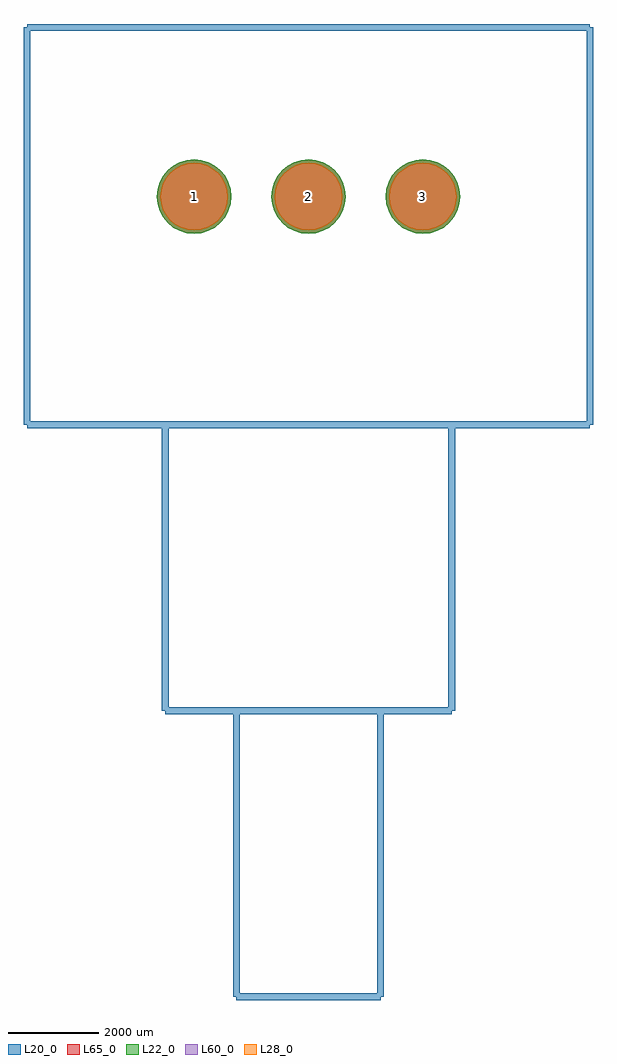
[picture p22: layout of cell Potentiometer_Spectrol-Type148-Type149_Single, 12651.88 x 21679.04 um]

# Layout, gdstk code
import gdstk
lib = gdstk.Library(unit=1e-6, precision=1e-09)
def P(c, l, *ps):  # polygons
    for p in ps: c.add(gdstk.Polygon(p, *l))
L20_0 = (20, 0)
L22_0 = (22, 0)
L28_0 = (28, 0)
L60_0 = (60, 0)
L65_0 = (65, 0)

potentiometer_spectrol_t = lib.new_cell('Potentiometer_Spectrol-Type148-Type149_Single')
P(potentiometer_spectrol_t, L22_0, [(825.57,0),(809.707,161.061),(762.727,315.932),(686.436,458.662),(583.766,583.766),(458.662,686.436),(315.932,762.727),(161.061,809.707),(0,825.57),(-161.061,809.707),(-315.932,762.727),(-458.662,686.436),(-583.766,583.766),(-686.436,458.662),(-762.727,315.932),(-809.707,161.061),(-825.57,0),(-809.707,-161.061),(-762.727,-315.932),(-686.436,-458.662),(-583.766,-583.766),(-458.662,-686.436),(-315.932,-762.727),(-161.061,-809.707),(0,-825.57),(161.061,-809.707),(315.932,-762.727),(458.662,-686.436),(583.766,-583.766),(686.436,-458.662),(762.727,-315.932),(809.707,-161.061)],
  [(5905.57,0),(5889.707,161.061),(5842.727,315.932),(5766.436,458.662),(5663.766,583.766),(5538.662,686.436),(5395.932,762.727),(5241.061,809.707),(5080,825.57),(4918.939,809.707),(4764.068,762.727),(4621.338,686.436),(4496.234,583.766),(4393.564,458.662),(4317.273,315.932),(4270.293,161.061),(4254.43,0),(4270.293,-161.061),(4317.273,-315.932),(4393.564,-458.662),(4496.234,-583.766),(4621.338,-686.436),(4764.068,-762.727),(4918.939,-809.707),(5080,-825.57),(5241.061,-809.707),(5395.932,-762.727),(5538.662,-686.436),(5663.766,-583.766),(5766.436,-458.662),(5842.727,-315.932),(5889.707,-161.061)],
  [(3365.57,0),(3349.707,161.061),(3302.727,315.932),(3226.436,458.662),(3123.766,583.766),(2998.662,686.436),(2855.932,762.727),(2701.061,809.707),(2540,825.57),(2378.939,809.707),(2224.068,762.727),(2081.338,686.436),(1956.234,583.766),(1853.564,458.662),(1777.273,315.932),(1730.293,161.061),(1714.43,0),(1730.293,-161.061),(1777.273,-315.932),(1853.564,-458.662),(1956.234,-583.766),(2081.338,-686.436),(2224.068,-762.727),(2378.939,-809.707),(2540,-825.57),(2701.061,-809.707),(2855.932,-762.727),(2998.662,-686.436),(3123.766,-583.766),(3226.436,-458.662),(3302.727,-315.932),(3349.707,-161.061)])
P(potentiometer_spectrol_t, L28_0, [(750.57,0),(736.148,146.429),(693.436,287.231),(624.076,416.994),(530.733,530.733),(416.994,624.076),(287.231,693.436),(146.429,736.148),(0,750.57),(-146.429,736.148),(-287.231,693.436),(-416.994,624.076),(-530.733,530.733),(-624.076,416.994),(-693.436,287.231),(-736.148,146.429),(-750.57,0),(-736.148,-146.429),(-693.436,-287.231),(-624.076,-416.994),(-530.733,-530.733),(-416.994,-624.076),(-287.231,-693.436),(-146.429,-736.148),(0,-750.57),(146.429,-736.148),(287.231,-693.436),(416.994,-624.076),(530.733,-530.733),(624.076,-416.994),(693.436,-287.231),(736.148,-146.429)],
  [(5830.57,0),(5816.148,146.429),(5773.436,287.231),(5704.076,416.994),(5610.733,530.733),(5496.994,624.076),(5367.231,693.436),(5226.429,736.148),(5080,750.57),(4933.571,736.148),(4792.769,693.436),(4663.006,624.076),(4549.267,530.733),(4455.924,416.994),(4386.564,287.231),(4343.852,146.429),(4329.43,0),(4343.852,-146.429),(4386.564,-287.231),(4455.924,-416.994),(4549.267,-530.733),(4663.006,-624.076),(4792.769,-693.436),(4933.571,-736.148),(5080,-750.57),(5226.429,-736.148),(5367.231,-693.436),(5496.994,-624.076),(5610.733,-530.733),(5704.076,-416.994),(5773.436,-287.231),(5816.148,-146.429)],
  [(3290.57,0),(3276.148,146.429),(3233.436,287.231),(3164.076,416.994),(3070.733,530.733),(2956.994,624.076),(2827.231,693.436),(2686.429,736.148),(2540,750.57),(2393.571,736.148),(2252.769,693.436),(2123.006,624.076),(2009.267,530.733),(1915.924,416.994),(1846.564,287.231),(1803.852,146.429),(1789.43,0),(1803.852,-146.429),(1846.564,-287.231),(1915.924,-416.994),(2009.267,-530.733),(2123.006,-624.076),(2252.769,-693.436),(2393.571,-736.148),(2540,-750.57),(2686.429,-736.148),(2827.231,-693.436),(2956.994,-624.076),(3070.733,-530.733),(3164.076,-416.994),(3233.436,-287.231),(3276.148,-146.429)])
P(potentiometer_spectrol_t, L60_0, [(750.57,0),(736.148,146.429),(693.436,287.231),(624.076,416.994),(530.733,530.733),(416.994,624.076),(287.231,693.436),(146.429,736.148),(0,750.57),(-146.429,736.148),(-287.231,693.436),(-416.994,624.076),(-530.733,530.733),(-624.076,416.994),(-693.436,287.231),(-736.148,146.429),(-750.57,0),(-736.148,-146.429),(-693.436,-287.231),(-624.076,-416.994),(-530.733,-530.733),(-416.994,-624.076),(-287.231,-693.436),(-146.429,-736.148),(0,-750.57),(146.429,-736.148),(287.231,-693.436),(416.994,-624.076),(530.733,-530.733),(624.076,-416.994),(693.436,-287.231),(736.148,-146.429)],
  [(5830.57,0),(5816.148,146.429),(5773.436,287.231),(5704.076,416.994),(5610.733,530.733),(5496.994,624.076),(5367.231,693.436),(5226.429,736.148),(5080,750.57),(4933.571,736.148),(4792.769,693.436),(4663.006,624.076),(4549.267,530.733),(4455.924,416.994),(4386.564,287.231),(4343.852,146.429),(4329.43,0),(4343.852,-146.429),(4386.564,-287.231),(4455.924,-416.994),(4549.267,-530.733),(4663.006,-624.076),(4792.769,-693.436),(4933.571,-736.148),(5080,-750.57),(5226.429,-736.148),(5367.231,-693.436),(5496.994,-624.076),(5610.733,-530.733),(5704.076,-416.994),(5773.436,-287.231),(5816.148,-146.429)],
  [(3290.57,0),(3276.148,146.429),(3233.436,287.231),(3164.076,416.994),(3070.733,530.733),(2956.994,624.076),(2827.231,693.436),(2686.429,736.148),(2540,750.57),(2393.571,736.148),(2252.769,693.436),(2123.006,624.076),(2009.267,530.733),(1915.924,416.994),(1846.564,287.231),(1803.852,146.429),(1789.43,0),(1803.852,-146.429),(1846.564,-287.231),(1915.924,-416.994),(2009.267,-530.733),(2123.006,-624.076),(2252.769,-693.436),(2393.571,-736.148),(2540,-750.57),(2686.429,-736.148),(2827.231,-693.436),(2956.994,-624.076),(3070.733,-530.733),(3164.076,-416.994),(3233.436,-287.231),(3276.148,-146.429)])
P(potentiometer_spectrol_t, L65_0, [(825.57,0),(809.707,161.061),(762.727,315.932),(686.436,458.662),(583.766,583.766),(458.662,686.436),(315.932,762.727),(161.061,809.707),(0,825.57),(-161.061,809.707),(-315.932,762.727),(-458.662,686.436),(-583.766,583.766),(-686.436,458.662),(-762.727,315.932),(-809.707,161.061),(-825.57,0),(-809.707,-161.061),(-762.727,-315.932),(-686.436,-458.662),(-583.766,-583.766),(-458.662,-686.436),(-315.932,-762.727),(-161.061,-809.707),(0,-825.57),(161.061,-809.707),(315.932,-762.727),(458.662,-686.436),(583.766,-583.766),(686.436,-458.662),(762.727,-315.932),(809.707,-161.061)],
  [(5905.57,0),(5889.707,161.061),(5842.727,315.932),(5766.436,458.662),(5663.766,583.766),(5538.662,686.436),(5395.932,762.727),(5241.061,809.707),(5080,825.57),(4918.939,809.707),(4764.068,762.727),(4621.338,686.436),(4496.234,583.766),(4393.564,458.662),(4317.273,315.932),(4270.293,161.061),(4254.43,0),(4270.293,-161.061),(4317.273,-315.932),(4393.564,-458.662),(4496.234,-583.766),(4621.338,-686.436),(4764.068,-762.727),(4918.939,-809.707),(5080,-825.57),(5241.061,-809.707),(5395.932,-762.727),(5538.662,-686.436),(5663.766,-583.766),(5766.436,-458.662),(5842.727,-315.932),(5889.707,-161.061)],
  [(3365.57,0),(3349.707,161.061),(3302.727,315.932),(3226.436,458.662),(3123.766,583.766),(2998.662,686.436),(2855.932,762.727),(2701.061,809.707),(2540,825.57),(2378.939,809.707),(2224.068,762.727),(2081.338,686.436),(1956.234,583.766),(1853.564,458.662),(1777.273,315.932),(1730.293,161.061),(1714.43,0),(1730.293,-161.061),(1777.273,-315.932),(1853.564,-458.662),(1956.234,-583.766),(2081.338,-686.436),(2224.068,-762.727),(2378.939,-809.707),(2540,-825.57),(2701.061,-809.707),(2855.932,-762.727),(2998.662,-686.436),(3123.766,-583.766),(3226.436,-458.662),(3302.727,-315.932),(3349.707,-161.061)])
potentiometer_spectrol_t.add(gdstk.FlexPath([(8790.94,3759.2),(8790.94,-5069.84)], 149.998, ends="flush", simple_path=True, layer=20, datatype=0))  # L20_0
potentiometer_spectrol_t.add(gdstk.FlexPath([(-3710.94,3759.2),(8790.94,3759.2)], 149.998, ends="flush", simple_path=True, layer=20, datatype=0))  # L20_0
potentiometer_spectrol_t.add(gdstk.FlexPath([(-3710.94,-5069.84),(-3710.94,3759.2)], 149.998, ends="flush", simple_path=True, layer=20, datatype=0))  # L20_0
potentiometer_spectrol_t.add(gdstk.FlexPath([(8790.94,-5069.84),(-3710.94,-5069.84)], 149.998, ends="flush", simple_path=True, layer=20, datatype=0))  # L20_0
potentiometer_spectrol_t.add(gdstk.FlexPath([(-640.08,-11419.84),(-640.08,-5069.84)], 149.998, ends="flush", simple_path=True, layer=20, datatype=0))  # L20_0
potentiometer_spectrol_t.add(gdstk.FlexPath([(5720.08,-5069.84),(5720.08,-11419.84)], 149.998, ends="flush", simple_path=True, layer=20, datatype=0))  # L20_0
potentiometer_spectrol_t.add(gdstk.FlexPath([(-640.08,-11419.84),(5720.08,-11419.84)], 149.998, ends="flush", simple_path=True, layer=20, datatype=0))  # L20_0
potentiometer_spectrol_t.add(gdstk.FlexPath([(939.8,-17769.84),(939.8,-11419.84)], 149.998, ends="flush", simple_path=True, layer=20, datatype=0))  # L20_0
potentiometer_spectrol_t.add(gdstk.FlexPath([(4140.2,-17769.84),(939.8,-17769.84)], 149.998, ends="flush", simple_path=True, layer=20, datatype=0))  # L20_0
potentiometer_spectrol_t.add(gdstk.FlexPath([(4140.2,-11419.84),(4140.2,-17769.84)], 149.998, ends="flush", simple_path=True, layer=20, datatype=0))  # L20_0
potentiometer_spectrol_t.add(gdstk.Label('1', (0,0), layer=28, texttype=0))
potentiometer_spectrol_t.add(gdstk.Label('3', (5080,0), layer=28, texttype=0))
potentiometer_spectrol_t.add(gdstk.Label('2', (2540,0), layer=28, texttype=0))
potentiometer_spectrol_t.add(gdstk.Label('type', (3810,-20320), layer=9, texttype=0))
potentiometer_spectrol_t.add(gdstk.Label('devicename', (2540,5080), layer=9, texttype=0))

lib.write_gds('Potentiometer_Spectrol-Type148-Type149_Single.gds')
